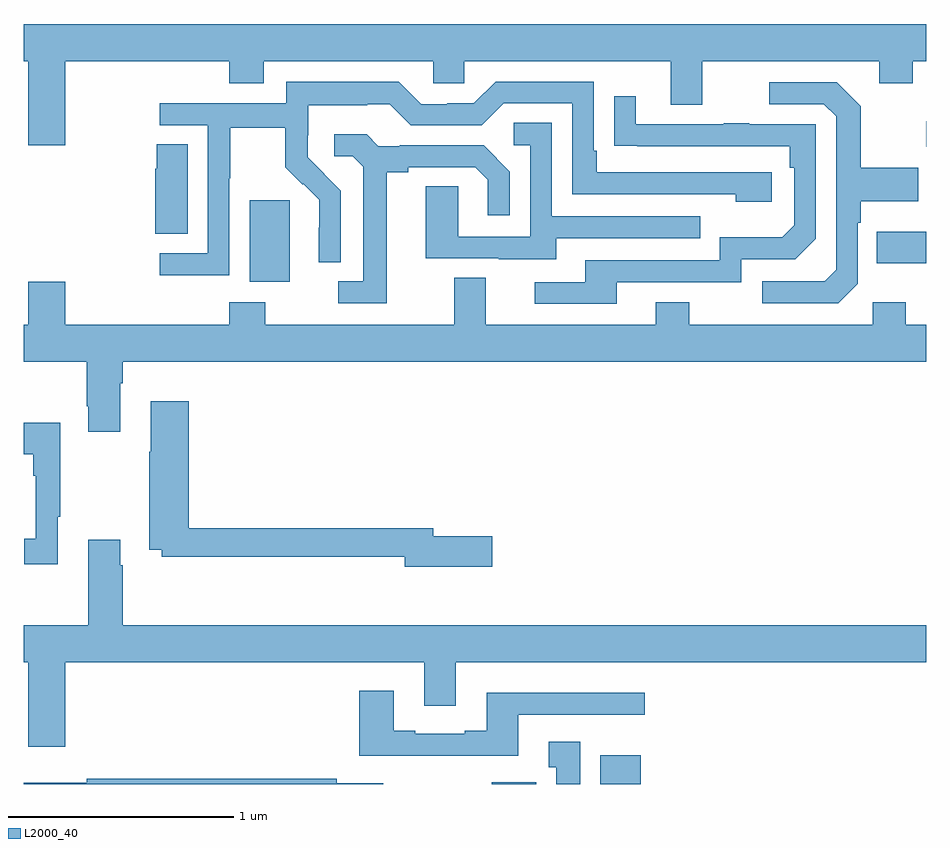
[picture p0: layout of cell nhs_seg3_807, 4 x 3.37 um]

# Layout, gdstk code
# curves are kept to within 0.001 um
import gdstk
lib = gdstk.Library(unit=1e-6, precision=1e-09)
def R(c, l, rs):  # rectangles x0, y0, x1, y1
    for r in rs: c.add(gdstk.rectangle(r[:2], r[2:], *l))
def P(c, l, *ps):  # polygons
    for p in ps: c.add(gdstk.Polygon(p, *l))
L2000_40 = (2000, 40)

nhs_seg3_807 = lib.new_cell('nhs_seg3_807')
R(nhs_seg3_807, L2000_40, [(155.075,676.4,155.272,676.408), (155.555,676.4,155.734,676.528), (154.001,678.626,154.18,678.987), (156.781,678.707,157,678.847), (156.999,679.223,157,679.336)])
P(nhs_seg3_807, L2000_40, [(153.184,679.604),(153.911,679.604),(153.911,679.505),(154.063,679.505),(154.063,679.604),(154.815,679.604),(154.815,679.506),(154.953,679.506),(154.953,679.604),(155.867,679.604),(155.867,679.41),(156.007,679.41),(156.007,679.604),(156.791,679.604),(156.791,679.505),(156.939,679.505),(156.939,679.604),(157,679.604),(157,679.768),(153,679.768),(153,679.604),(153.02,679.604),(153.02,679.23),(153.184,679.23)],
  [(153.912,679.084),(153.915,679.084),(153.915,679.308),(154.159,679.308),(154.159,679.133),(154.236,679.056),(154.239,679.059),(154.31,678.989),(154.31,678.866),(154.308,678.866),(154.308,678.712),(154.404,678.712),(154.404,679.03),(154.258,679.178),(154.258,679.275),(154.26,679.275),(154.26,679.409),(154.523,679.409),(154.523,679.413),(154.623,679.413),(154.716,679.32),(155.031,679.32),(155.127,679.416),(155.43,679.416),(155.43,679.014),(156.155,679.014),(156.155,678.98),(156.316,678.98),(156.316,679.11),(155.539,679.11),(155.539,679.207),(155.526,679.207),(155.526,679.512),(155.091,679.512),(154.995,679.416),(154.877,679.416),(154.877,679.413),(154.761,679.413),(154.661,679.513),(154.164,679.513),(154.164,679.416),(153.603,679.416),(153.603,679.32),(153.816,679.32),(153.816,678.753),(153.603,678.753),(153.603,678.655),(153.912,678.655)],
  [(156.696,678.618),(156.696,678.887),(156.709,678.887),(156.709,678.983),(156.965,678.983),(156.965,679.131),(156.709,679.131),(156.709,679.403),(156.603,679.509),(156.303,679.509),(156.303,679.413),(156.546,679.413),(156.6,679.359),(156.6,678.678),(156.549,678.627),(156.273,678.627),(156.273,678.531),(156.609,678.531)],
  [(155.629,678.624),(156.18,678.624),(156.18,678.726),(156.42,678.726),(156.51,678.816),(156.51,679.323),(156.215,679.323),(156.215,679.328),(156.103,679.328),(156.103,679.323),(155.713,679.323),(155.713,679.447),(155.617,679.447),(155.617,679.228),(156.394,679.227),(156.394,679.13),(156.414,679.13),(156.414,678.876),(156.361,678.823),(156.084,678.823),(156.084,678.72),(155.489,678.72),(155.489,678.624),(155.265,678.624),(155.265,678.528),(155.629,678.528)],
  [(155.359,678.819),(155.999,678.819),(155.999,678.915),(155.34,678.915),(155.34,679.331),(155.172,679.331),(155.172,679.23),(155.244,679.23),(155.244,678.825),(154.926,678.825),(154.926,679.049),(154.781,679.049),(154.781,678.729),(155.105,678.729),(155.105,678.725),(155.359,678.725)],
  [(154.609,679.112),(154.705,679.112),(154.705,679.134),(155,679.134),(155.057,679.077),(155.057,678.921),(155.154,678.921),(155.154,679.114),(155.038,679.23),(154.666,679.23),(154.666,679.227),(154.572,679.227),(154.52,679.279),(154.377,679.279),(154.377,679.182),(154.458,679.182),(154.505,679.135),(154.505,678.627),(154.395,678.627),(154.395,678.531),(154.609,678.531)],
  [(153.727,679.235),(153.589,679.235),(153.589,679.127),(153.584,679.127),(153.584,678.838),(153.727,678.838)],
  [(153.427,678.176),(153.44,678.176),(153.44,678.272),(157,678.272),(157,678.436),(156.909,678.436),(156.909,678.535),(156.762,678.535),(156.762,678.436),(155.949,678.436),(155.949,678.535),(155.801,678.535),(155.801,678.436),(155.047,678.436),(155.047,678.644),(154.907,678.644),(154.907,678.436),(154.071,678.436),(154.071,678.535),(153.911,678.535),(153.911,678.436),(153.184,678.436),(153.184,678.625),(153.02,678.625),(153.02,678.436),(153,678.436),(153,678.272),(153.28,678.272),(153.28,678.073),(153.287,678.073),(153.287,677.961),(153.427,677.961)],
  [(155.077,677.498),(154.816,677.498),(154.816,677.534),(153.731,677.534),(153.731,678.097),(153.563,678.097),(153.563,677.873),(153.556,677.873),(153.556,677.438),(153.612,677.438),(153.612,677.406),(154.688,677.406),(154.688,677.363),(155.077,677.363)],
  [(153.151,677.585),(153.163,677.585),(153.163,678.001),(153,678.001),(153,677.861),(153.042,677.861),(153.042,677.765),(153.054,677.765),(153.054,677.486),(153.003,677.486),(153.003,677.373),(153.151,677.373)],
  [(153.184,676.94),(154.775,676.94),(154.775,676.746),(154.915,676.746),(154.915,676.94),(157,676.94),(157,677.104),(153.44,677.104),(153.44,677.369),(153.427,677.369),(153.427,677.482),(153.287,677.482),(153.287,677.104),(153,677.104),(153,676.94),(153.02,676.94),(153.02,676.566),(153.184,676.566)],
  [(155.191,676.707),(155.752,676.707),(155.752,676.804),(155.051,676.804),(155.051,676.636),(154.955,676.636),(154.955,676.623),(154.735,676.623),(154.735,676.636),(154.639,676.636),(154.639,676.813),(154.487,676.813),(154.487,676.526),(155.191,676.526)],
  [(155.467,676.588),(155.327,676.588),(155.327,676.475),(155.36,676.475),(155.36,676.4),(155.467,676.4)],
  [(154.594,676.404),(154.388,676.404),(154.388,676.424),(153.28,676.424),(153.28,676.405),(153,676.405),(153,676.4),(154.594,676.4)])

lib.write_gds('nhs_seg3_807.gds')
